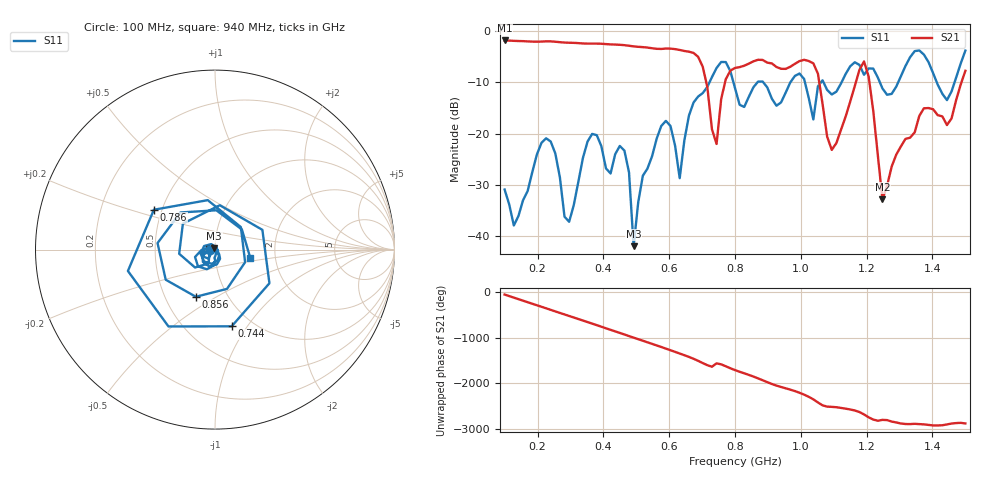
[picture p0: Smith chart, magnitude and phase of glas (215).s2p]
! NanoVNA-App
! Date: 2025-09-25 15:57:09
! Start: 100MHz Stop: 1,5GHz Points: 101
! S-Parameter data: F S11 S21 S12 S22
# Hz S RI R 50
!  Frequency  S11_Real  S11_Imag  S21_Real  S21_Imag  S12_Real  S12_Imag  S22_Real  S22_Imag
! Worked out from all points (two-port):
!   101 points, 100 MHz to 1.5 GHz, reference 50 ohm
!   highest |S21| = -1.80 dB at 100 MHz (marker M1); lowest = -32.9 dB at 1.248 GHz (marker M2)
!   |S21| within 3 dB of the highest: start of sweep to 684.3 MHz
!   lowest |S11| = -42.0 dB at 492 MHz (marker M3), VSWR 1.02, Z = 49.5 + j0.618 ohm
!   |S11| at or under -10 dB: start of sweep to 722.4 MHz; 795.3 MHz to 868.1 MHz (72.77 MHz wide, 8.75 % of centre); 886 MHz to 968.1 MHz (82.04 MHz wide, 8.85 % of centre) (the widest 3 of 7)
!   S12 and S22 are empty: the file has one direction only
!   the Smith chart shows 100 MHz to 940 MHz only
!   S11 on the Smith chart (normalised r, x): 100 MHz: 0.95, -0.01; 744 MHz: 0.80, -0.85; 786 MHz: 0.45, +0.24; 856 MHz: 0.71, -0.41; 940 MHz: 1.48, -0.14
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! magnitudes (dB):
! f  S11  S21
! 100 MHz  -30.9  -1.8
! 128 MHz  -38.0  -1.9
! 226 MHz  -20.9  -2.0
! 296 MHz  -37.3  -2.2
! 338 MHz  -24.8  -2.4
! 464 MHz  -23.3  -2.7
! 492 MHz  -42.0  -3.0
! 576 MHz  -18.5  -3.5
! 632 MHz  -28.7  -3.7
! 702 MHz  -12.1  -6.9
! 744 MHz  -7.2  -22.0
! 786 MHz  -7.8  -7.7
! 800 MHz  -11.1  -7.2
! 856 MHz  -10.9  -5.9
! 940 MHz  -13.9  -7.3
! 1.038 GHz  -17.2  -6.3
! 1.094 GHz  -12.4  -23.2
! 1.192 GHz  -8.5  -5.9
! 1.248 GHz  -11.2  -32.9
! 1.276 GHz  -12.2  -26.5
! 1.444 GHz  -13.5  -18.3
! 1.5 GHz  -3.8  -7.7
